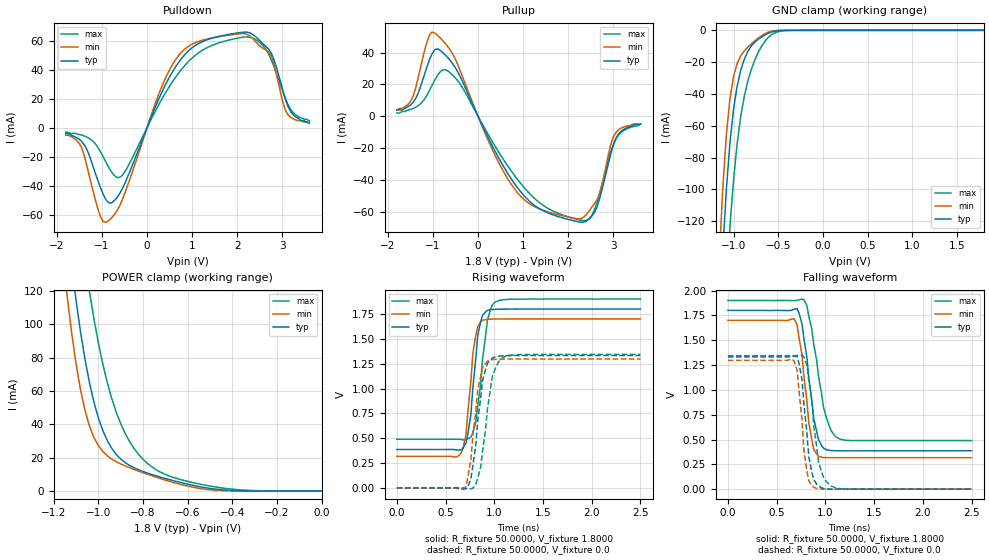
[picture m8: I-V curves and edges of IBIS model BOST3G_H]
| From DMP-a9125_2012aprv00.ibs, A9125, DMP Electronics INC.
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[Model] BOST3G_H
Model_type I/O
Polarity   Non-Inverting
Enable   Active-Low
Vinl =   0.6500V
Vinh =   1.1500V
Vmeas =  0.9000V
Cref =   0.0F
Rref =   25.0000
Vref =   0.9000V
C_comp   2.3000pF   2.2000pF   2.4000pF
[Temperature Range]   25.0000   -40.0000   0.1250k
[Pullup Reference]   1.8000V   1.7000V   1.9000V
[Pulldown Reference]   0.0V   0.0V   0.0V
[POWER Clamp Reference]   1.8000V   1.7000V   1.9000V
[GND Clamp Reference]   0.0V   0.0V   0.0V
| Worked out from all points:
|   slope of the pulldown table from 0 to 0.27 V, typ, clamps not added: 13.2 ohm
|   slope of the pullup table from 0 to 0.27 V, typ, clamps not added: 16.9 ohm
|   GND clamp passes 1 mA (typ) near -0.57 V on its own axis
|   POWER clamp passes 1 mA (typ) near -0.47 V on its own axis
|   rising waveform, R_fixture 50.0000, V_fixture 1.8000: 20-80 % time 79.9ps typ, 77ps min, 97.5ps max; typ from 0.386 V to 1.8 V
|   rising waveform, R_fixture 50.0000, V_fixture 0.0: 20-80 % time 92.1ps typ, 86.1ps min, 106ps max; typ from 0 V to 1.33 V
|   falling waveform, R_fixture 50.0000, V_fixture 1.8000: 20-80 % time 111ps typ, 96.6ps min, 137ps max; typ from 1.8 V to 0.386 V
|   falling waveform, R_fixture 50.0000, V_fixture 0.0: 20-80 % time 78.8ps typ, 73.5ps min, 99.2ps max; typ from 1.33 V to 0 V
[Pulldown]
|Voltage   I(typ)   I(min)   I(max)
-1.8V     -4mA       -5mA       -3mA
-1.44V    -9.5mA     -14.2mA    -4.9mA
-1.08V    -36.92mA   -56.61mA   -13.8mA
-900mV    -49.96mA   -65.07mA   -24.1mA
-540mV    -41.67mA   -49.15mA   -32.51mA
240mV     18.44mA    21.63mA    14.8mA
660mV     43.38mA    48.26mA    36.1mA
1.2V      59.16mA    60.28mA    53.05mA
2.1V      66.01mA    65.12mA    62.52mA
2.76V     51.39mA    49.33mA    46.7mA
3.12V     15.3mA     9.4mA      16.6mA
3.6V      4mA        3mA        5mA
[Pullup]
|Voltage   I(typ)   I(min)   I(max)
-1.8V     4mA        4mA        2mA
-1.44V    8.7mA      12.5mA     4.9mA
-1.14V    30.3mA     45.8mA     12.7mA
-960mV    41.72mA    52.3mA     22.62mA
-480mV    29.45mA    34.4mA     23.35mA
300mV     -17.7mA    -19.85mA   -15.1mA
840mV     -43.53mA   -46.76mA   -38.35mA
1.44V     -59.2mA    -59.01mA   -55.87mA
2.28V     -66.49mA   -64.29mA   -65.28mA
2.64V     -56.7mA    -52.34mA   -53.75mA
3.06V     -13.6mA    -10mA      -14mA
3.6V      -5mA       -5mA       -5mA
[GND_clamp]
|Voltage   I(typ)   I(min)   I(max)
-1.8V     -1.3A      -1.309A    -1.311A
-1.16V    -182.5mA   -142.4mA   -246.2mA
-1.12V    -136.9mA   -98.28mA   -199.3mA
-1.08V    -99.18mA   -64.99mA   -157.8mA
-1.04V    -70.16mA   -42.66mA   -122.5mA
-1V       -49.35mA   -28.9mA    -93.65mA
-960mV    -35.03mA   -20.73mA   -71.09mA
-880mV    -18.14mA   -12.9mA    -41.34mA
-800mV    -9.705mA   -8.431mA   -24.29mA
-680mV    -3.918mA   -3.12mA    -9.322mA
-400mV    -15.29uA   -1.64uA    -116.6uA
1.8V      169.5pA    222.2pA    -98.02nA
[POWER_clamp]
|Voltage   I(typ)   I(min)   I(max)
-1.8V     1.392A     1.401A     1.406A
-1.14V    160.2mA    118.2mA    228mA
-1.1V     115.3mA    77.09mA    180.1mA
-1.08V    96.28mA    61.36mA    158.5mA
-1.04V    65.58mA    39.34mA    120.4mA
-980mV    36.51mA    23.77mA    76.62mA
-920mV    22.08mA    17.59mA    47.61mA
-860mV    15.36mA    13.99mA    29.76mA
-780mV    10.76mA    10.04mA    16.55mA
-680mV    6.748mA    5.735mA    8.901mA
-480mV    1.16mA     445.9uA    2.498mA
0V        169.5pA    112.3pA    13.33nA
[Ramp]
| variable   typ   min   max
dV/dt_r  0.7992/92.7637p   0.7782/88.4362p   0.8058/0.1074n
dV/dt_f  0.8483/0.1095n   0.8299/97.1457p   0.8465/0.1390n
R_load = 50.0000
[Rising Waveform]
R_fixture= 50.0000
V_fixture= 1.8000
V_fixture_min= 1.7000
V_fixture_max= 1.9000
|time   V(typ)   V(min)   V(max)
0s        386.2mV    316.9mV    489.2mV
680ps     401.5mV    401.4mV    483mV
710ps     453.2mV    536.5mV    482.6mV
760ps     738.3mV    1.073V     511.5mV
810ps     1.3V       1.533V     659.9mV
830ps     1.531V     1.618V     819.7mV
880ps     1.736V     1.687V     1.302V
930ps     1.786V     1.696V     1.688V
1.04ns    1.798V     1.699V     1.882V
2.5ns     1.8V       1.7V       1.9V
[Rising Waveform]
R_fixture= 50.0000
V_fixture= 0.0
V_fixture_min= 0.0
V_fixture_max= 0.0
|time   V(typ)   V(min)   V(max)
0s        0V         0V         1.984uV
660ps     -8.752mV   -12.39mV   1.946mV
730ps     16.7mV     110.1mV    -10.21mV
780ps     223.6mV    520.5mV    -3.173mV
830ps     670.8mV    983.2mV    97.24mV
860ps     901.5mV    1.126V     209.2mV
930ps     1.254V     1.276V     796.4mV
980ps     1.307V     1.291V     1.119V
1.11ns    1.33V      1.297V     1.322V
2.5ns     1.332V     1.297V     1.343V
[Falling Waveform]
R_fixture= 50.0000
V_fixture= 1.8000
V_fixture_min= 1.7000
V_fixture_max= 1.9000
|time   V(typ)   V(min)   V(max)
0s        1.8V       1.7V       1.9V
680ps     1.812V     1.715V     1.898V
760ps     1.662V     1.352V     1.914V
810ps     1.33V      890.2mV    1.849V
830ps     1.12V      669.3mV    1.742V
880ps     717.7mV    399.9mV    1.462V
930ps     498.2mV    329.7mV    1.132V
1.01ns    398.1mV    317.8mV    722.3mV
1.14ns    386.3mV    316.8mV    508.5mV
2.5ns     386.2mV    316.9mV    489.2mV
[Falling Waveform]
R_fixture= 50.0000
V_fixture= 0.0
V_fixture_min= 0.0
V_fixture_max= 0.0
|time   V(typ)   V(min)   V(max)
0s        1.332V     1.297V     1.343V
660ps     1.337V     1.306V     1.342V
710ps     1.335V     1.201V     1.346V
760ps     1.105V     696.6mV    1.351V
780ps     857.1mV    386.9mV    1.331V
830ps     326.5mV    82.34mV    1.091V
880ps     99.97mV    19.25mV    649.7mV
930ps     30.79mV    3.321mV    274.1mV
1.06ns    1.17mV     477.7uV    30.6mV
2.5ns     0V         2.639uV    1.596uV
